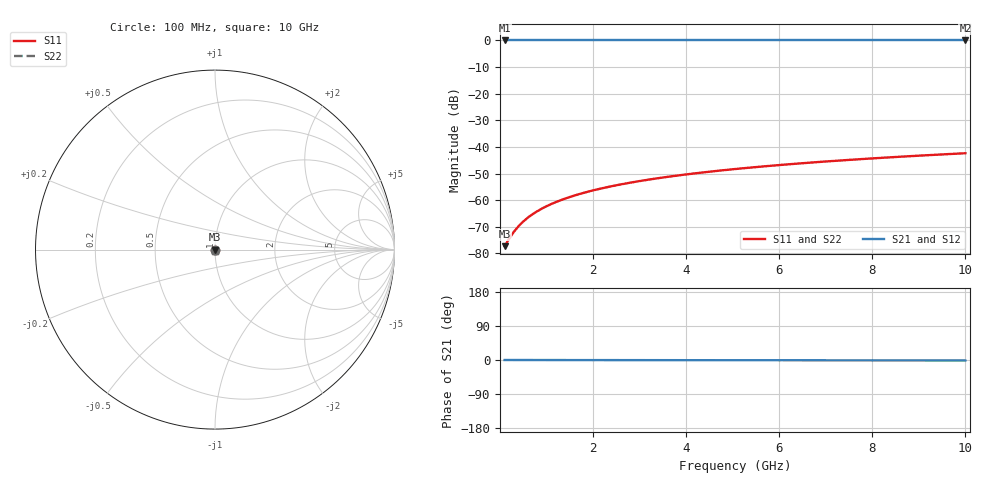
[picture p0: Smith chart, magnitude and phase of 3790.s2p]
# Hz S RI R 50.00
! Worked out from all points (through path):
!   100 points, 100 MHz to 10 GHz, reference 50 ohm
!   highest |S21| = 0.00 dB at 100 MHz (marker M1); lowest = 0.0 dB at 10 GHz (marker M2)
!   lowest |S11| = -77.3 dB at 100 MHz (marker M3), VSWR 1.00, Z = 50 - j0.0076 ohm
!   |S11| at or under -10 dB: start of sweep to end of sweep
!   |S22| runs from -77.3 to -42.4 dB; largest |S21 - S12| = 0
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1e8  0.000114 -7.59e-05  0.9999 -0.000206  0.9999 -0.000206  0.000114 -7.59e-05
2e8  0.000114 -0.000152  0.9999 -0.000411  0.9999 -0.000411  0.000114 -0.000152
3e8  0.000114 -0.000228  0.9999 -0.000617  0.9999 -0.000617  0.000114 -0.000228
4e8  0.000115 -0.000304  0.9999 -0.000823  0.9999 -0.000823  0.000115 -0.000304
5e8  0.000115 -0.00038  0.9999 -0.00103  0.9999 -0.00103  0.000115 -0.00038
6e8  0.000115 -0.000456  0.9999 -0.00123  0.9999 -0.00123  0.000115 -0.000456
7e8  0.000115 -0.000532  0.9999 -0.00144  0.9999 -0.00144  0.000115 -0.000532
9e8  0.000115 -0.000684  0.9999 -0.00185  0.9999 -0.00185  0.000115 -0.000684
1e9  0.000115 -0.00076  0.9999 -0.00206  0.9999 -0.00206  0.000115 -0.00076
1.2e9  0.000114 -0.000911  0.9999 -0.00247  0.9999 -0.00247  0.000114 -0.000911
1.5e9  0.000113 -0.00114  0.9999 -0.00309  0.9999 -0.00309  0.000113 -0.00114
1.8e9  0.000112 -0.00137  0.9999 -0.0037  0.9999 -0.0037  0.000112 -0.00137
2.1e9  0.00011 -0.0016  0.9999 -0.00432  0.9999 -0.00432  0.00011 -0.0016
2.5e9  0.000107 -0.0019  0.9999 -0.00514  0.9999 -0.00514  0.000107 -0.0019
2.9e9  0.000104 -0.0022  0.9999 -0.00597  0.9999 -0.00597  0.000104 -0.0022
3.4e9  9.92e-05 -0.00258  0.9998 -0.007  0.9998 -0.007  9.92e-05 -0.00258
4.2e9  8.98e-05 -0.00319  0.9998 -0.00864  0.9998 -0.00864  8.98e-05 -0.00319
5.1e9  7.69e-05 -0.00388  0.9998 -0.0105  0.9998 -0.0105  7.69e-05 -0.00388
5.9e9  6.32e-05 -0.00448  0.9998 -0.0121  0.9998 -0.0121  6.32e-05 -0.00448
6.7e9  4.75e-05 -0.00509  0.9998 -0.0138  0.9998 -0.0138  4.75e-05 -0.00509
8.4e9  7.48e-06 -0.00639  0.9997 -0.0173  0.9997 -0.0173  7.48e-06 -0.00639
1e10  -3.85e-05 -0.00761  0.9996 -0.0206  0.9996 -0.0206  -3.85e-05 -0.00761
